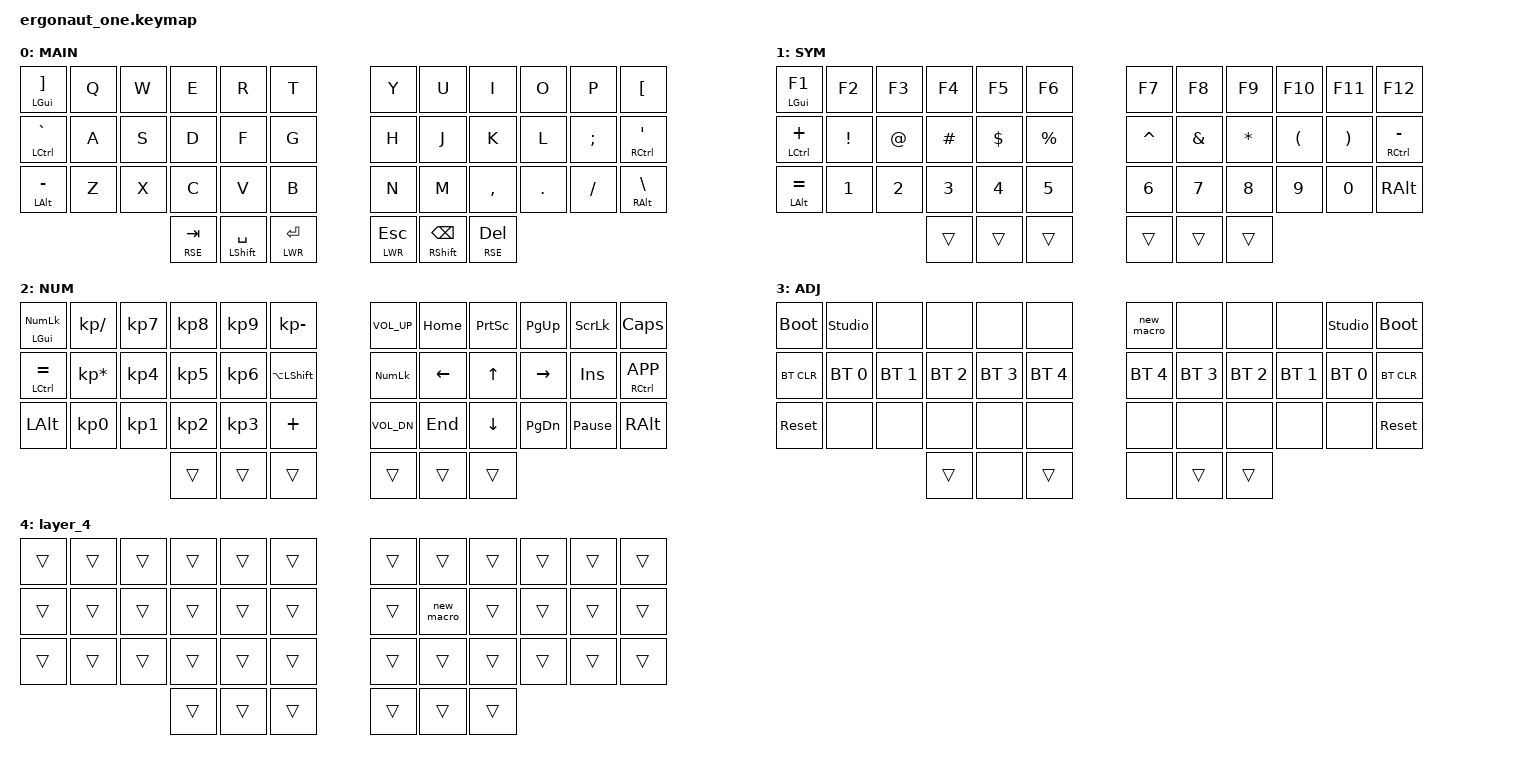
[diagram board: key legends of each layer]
#include <behaviors.dtsi>
#include <dt-bindings/zmk/bt.h>
#include <dt-bindings/zmk/keys.h>

#define DEF 0
#define LWR 1
#define RSE 2
#define ADJ 3

&lt { quick-tap-ms = <200>; };

&mt { quick-tap-ms = <200>; };

/ {
    conditional_layers {
        compatible = "zmk,conditional-layers";

        tri-layer {
            if-layers = <LWR RSE>;
            then-layer = <ADJ>;
        };
    };

    macros {
        new_macro: new_macro {
            compatible = "zmk,behavior-macro";
            #binding-cells = <0>;
            bindings = <&none &kp LS(G) &kp H &kp B &kp D &kp T &kp N &kp QMARK &kp SQT &kp N &kp J &kp N &kp SPACE &kp V &kp F &kp R &kp H &kp J &kp C &kp SPACE &kp C &kp A &kp J &kp H &kp V &kp B &kp H &kp J &kp D &kp F &kp Y &kp SPACE &kp F &kp D &kp N &kp J &kp V &kp F &kp N &kp B &kp X &kp T &kp C &kp C &kp R &kp B &kp QMARK &kp SPACE &kp Y &kp J &kp SPACE &kp Z &kp SPACE &kp L &kp E &kp V &kp F &kp DOT &kp QMARK &kp SPACE &kp X &kp N &kp J &kp SPACE &kp D &kp C &kp T &kp C &kp T &kp SPACE &kp Y &kp J &kp H &kp V &kp F &kp K &kp M &kp Y &kp J &kp FSLH &kp SPACE &kp LBKT &kp T &kp LBKT &kp T>;
            label = "NEW_MACRO";
        };
    };

    keymap {
        compatible = "zmk,keymap";

        default_layer {
            display-name = "MAIN";
            bindings = <
&mt LGUI RBKT    &kp Q  &kp W  &kp E        &kp R            &kp T        &kp Y        &kp U           &kp I        &kp O    &kp P     &kp LBKT
&mt LCTRL GRAVE  &kp A  &kp S  &kp D        &kp F            &kp G        &kp H        &kp J           &kp K        &kp L    &kp SEMI  &mt RCTRL SQT
&mt LALT MINUS   &kp Z  &kp X  &kp C        &kp V            &kp B        &kp N        &kp M           &kp COMMA    &kp DOT  &kp FSLH  &mt RALT BSLH
                               &lt RSE TAB  &mt LSHFT SPACE  &lt LWR RET  &lt LWR ESC  &mt RSHFT BSPC  &lt RSE DEL
            >;
        };

        lower_layer {
            display-name = "SYM";
            bindings = <
&mt LGUI F1     &kp F2    &kp F3  &kp F4    &kp F5    &kp F6     &kp F7     &kp F8    &kp F9    &kp F10   &kp F11   &kp F12
&mt LCTRL PLUS  &kp EXCL  &kp AT  &kp HASH  &kp DLLR  &kp PRCNT  &kp CARET  &kp AMPS  &kp STAR  &kp LPAR  &kp RPAR  &mt RCTRL MINUS
&mt LALT EQUAL  &kp N1    &kp N2  &kp N3    &kp N4    &kp N5     &kp N6     &kp N7    &kp N8    &kp N9    &kp N0    &kp RALT
                                  &trans    &trans    &trans     &trans     &trans    &trans
            >;
        };

        raise_layer {
            display-name = "NUM";
            bindings = <
&mt LGUI KP_NUM  &kp KP_SLASH     &kp KP_N7  &kp KP_N8  &kp KP_N9  &kp KP_MINUS        &kp C_VOL_UP  &kp HOME  &kp PSCRN  &kp PG_UP  &kp SLCK         &kp CLCK
&mt LCTRL EQUAL  &kp KP_MULTIPLY  &kp KP_N4  &kp KP_N5  &kp KP_N6  &kp LA(LEFT_SHIFT)  &kp KP_NUM    &kp LEFT  &kp UP     &kp RIGHT  &kp INS          &mt RCTRL K_APP
&kp LALT         &kp KP_N0        &kp KP_N1  &kp KP_N2  &kp KP_N3  &kp PLUS            &kp C_VOL_DN  &kp END   &kp DOWN   &kp PG_DN  &kp PAUSE_BREAK  &kp RALT
                                             &trans     &trans     &trans              &trans        &trans    &trans
            >;
        };

        adjust_layer {
            display-name = "ADJ";
            bindings = <
&bootloader  &studio_unlock  &none         &none         &none         &none         &new_macro    &none         &none         &none         &studio_unlock  &bootloader
&bt BT_CLR   &bt BT_SEL 0    &bt BT_SEL 1  &bt BT_SEL 2  &bt BT_SEL 3  &bt BT_SEL 4  &bt BT_SEL 4  &bt BT_SEL 3  &bt BT_SEL 2  &bt BT_SEL 1  &bt BT_SEL 0    &bt BT_CLR
&sys_reset   &none           &none         &none         &none         &none         &none         &none         &none         &none         &none           &sys_reset
                                           &trans        &none         &trans        &none         &trans        &trans
            >;
        };

        layer_4 {
            bindings = <
&trans  &trans  &trans  &trans  &trans  &trans  &trans  &trans      &trans  &trans  &trans  &trans
&trans  &trans  &trans  &trans  &trans  &trans  &trans  &new_macro  &trans  &trans  &trans  &trans
&trans  &trans  &trans  &trans  &trans  &trans  &trans  &trans      &trans  &trans  &trans  &trans
                        &trans  &trans  &trans  &trans  &trans      &trans
            >;
        };
    };
};
